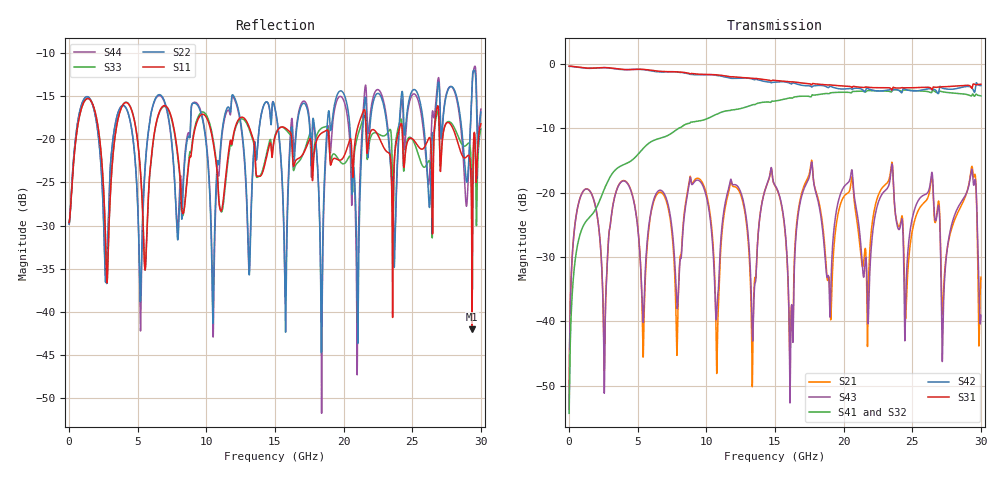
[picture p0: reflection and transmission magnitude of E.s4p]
!MTL model of E, calibrated on full-wave A (medium)
# Hz S RI R 50.0
!freq ReS11 ImS11 ReS12 ImS12 ReS13 ImS13
! ReS14 ImS14
! ReS21 ImS21 ReS22 ImS22 ReS23 ImS23
! ReS24 ImS24
! ReS31 ImS31 ReS32 ImS32 ReS33 ImS33
! ReS34 ImS34
! ReS41 ImS41 ReS42 ImS42 ReS43 ImS43
! ReS44 ImS44
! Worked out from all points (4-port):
!   3000 points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, 10 MHz to 30 GHz, reference 50 ohm
!   strongest paths, dB at 10 MHz, 7.51 GHz, 15.01 GHz, 22.51 GHz, 30 GHz:
!     S31: -0.4, -1.2, -2.6, -3.7, -3.2
!     S42: -0.4, -1.3, -2.9, -4.3, -3.4
!     S41: -54.3, -10.8, -5.8, -4.2, -5.0
!     S32: -54.3, -10.8, -5.8, -4.2, -5.0
!     S43: -53.7, -25.7, -18.9, -21.7, -39.1
!     S21: -53.7, -26.6, -19.0, -20.5, -33.1
!   lowest |S11| = -42.0 dB at 29.36 GHz (marker M1), VSWR 1.02, Z = 50.8 + j0.201 ohm
!   |S11| at or under -10 dB: start of sweep to end of sweep
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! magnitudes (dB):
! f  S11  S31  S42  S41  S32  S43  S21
! 10 MHz  -29.6  -0.4  -0.4  -54.3  -54.3  -53.7  -53.7
! 990 MHz  -16.1  -0.6  -0.7  -25.4  -25.4  -19.9  -20.0
! 5.85 GHz  -24.6  -1.0  -1.1  -12.3  -12.3  -24.6  -25.0
! 16.19 GHz  -19.5  -2.8  -3.2  -5.4  -5.3  -38.5  -37.9
! 17.62 GHz  -20.3  -3.2  -3.5  -5.2  -5.1  -16.0  -15.5
! 29.36 GHz  -42.0  -3.8  -3.8  -4.8  -4.8  -16.5  -16.0
! 30 GHz  -18.2  -3.2  -3.4  -5.0  -5.0  -39.1  -33.1
